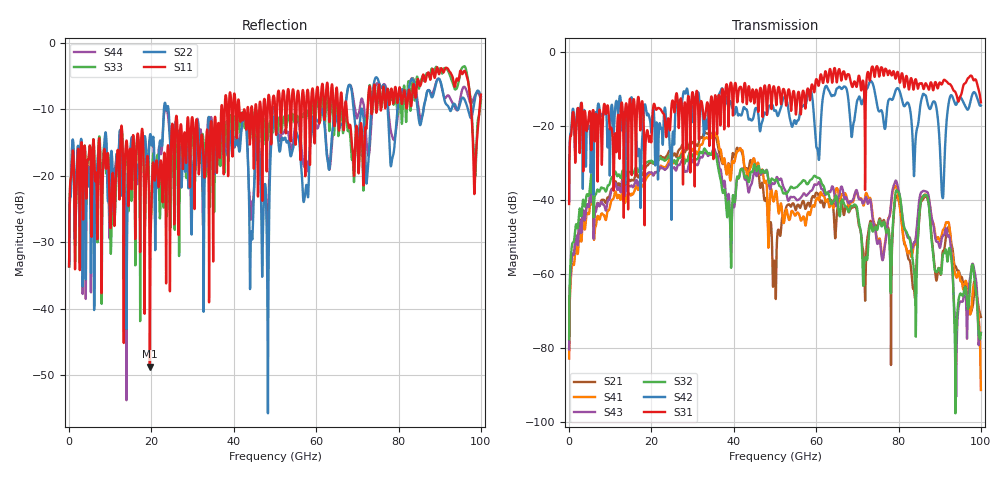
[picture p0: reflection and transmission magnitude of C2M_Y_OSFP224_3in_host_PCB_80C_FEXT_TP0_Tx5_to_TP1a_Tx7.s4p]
# GHz S RI R 45
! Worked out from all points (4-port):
!   4000 points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, 25 MHz to 100 GHz, reference 45 ohm
!   strongest paths, dB at 25 MHz, 25.02 GHz, 50.02 GHz, 75.03 GHz, 100 GHz:
!     S31: -41.2, -13.5, -11.1, -4.7, -13.7
!     S42: -40.5, -26.4, -15.9, -15.6, -14.6
!     S32: -77.7, -29.4, -34.8, -47.3, -76.0
!     S43: -80.5, -31.3, -35.4, -51.8, -76.0
!     S41: -82.9, -29.7, -38.8, -51.3, -91.4
!     S21: -80.6, -27.4, -58.1, -46.8, -71.7
!   lowest |S11| = -48.8 dB at 19.62 GHz (marker M1), VSWR 1.01, Z = 44.7 + j0.0595 ohm
!   |S11| at or under -10 dB: start of sweep to 36.96 GHz; 67.41 GHz to 72.48 GHz (5.068 GHz wide, 7.25 % of centre); 97.63 GHz to 99.64 GHz (2.012 GHz wide, 2.04 % of centre) (the widest 3 of 32)
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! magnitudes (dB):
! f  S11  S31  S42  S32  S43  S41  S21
! 25 MHz  -33.7  -41.2  -40.5  -77.7  -80.5  -82.9  -80.6
! 19.62 GHz  -48.8  -23.1  -18.4  -29.6  -32.7  -33.1  -30.1
! 44.6 GHz  -11.6  -10.2  -18.3  -32.3  -34.4  -29.4  -29.6
! 49.88 GHz  -8.4  -9.9  -16.0  -34.9  -35.7  -39.8  -56.5
! 83.97 GHz  -7.7  -7.9  -27.5  -63.0  -51.5  -52.1  -66.5
! 86.75 GHz  -5.2  -8.8  -12.3  -38.7  -37.9  -38.9  -39.1
! 100 GHz  -7.8  -13.7  -14.6  -76.0  -76.0  -91.4  -71.7
